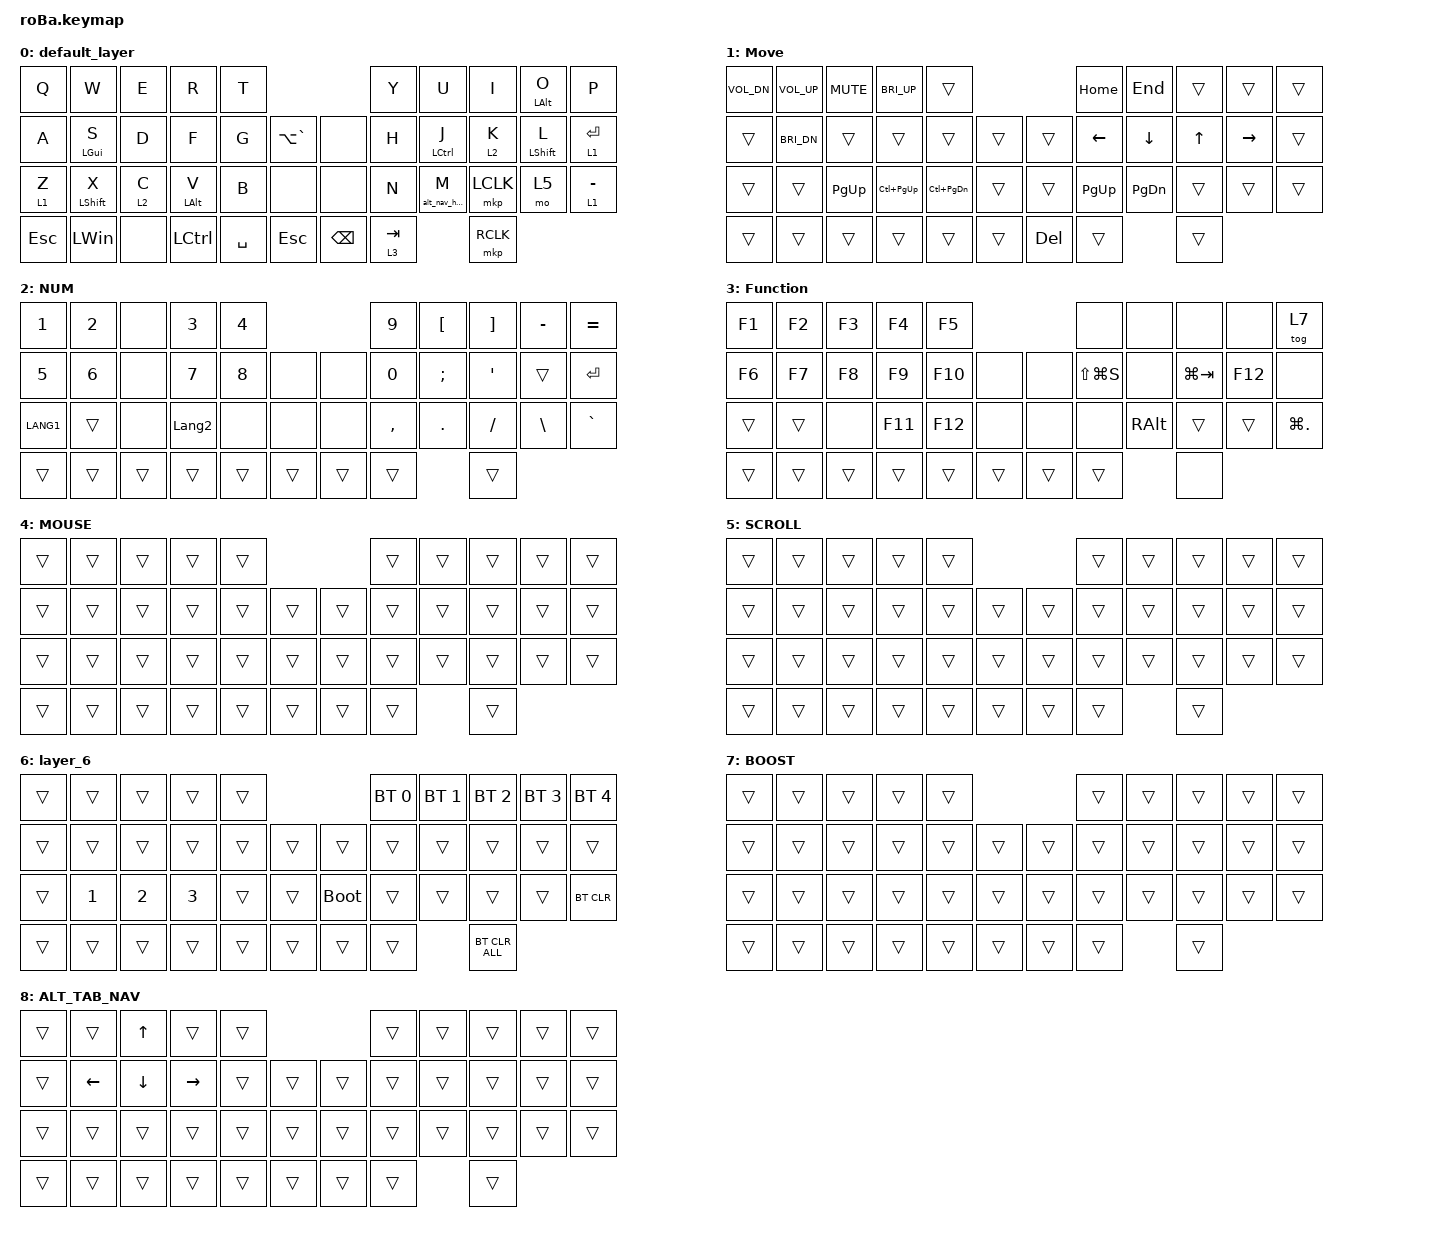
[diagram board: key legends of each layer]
#include <behaviors.dtsi>
#include <dt-bindings/zmk/bt.h>
#include <dt-bindings/zmk/keys.h>
#include <dt-bindings/zmk/pointing.h>

&mt {
    flavor = "balanced";
    quick-tap-ms = <0>;
};

&trackball {
    scroll-layers = <5>;
    snipe-layers = <7>;
};

/ {
    combos {
        compatible = "zmk,combos";

        tab {
            bindings = <&kp TAB>;
            key-positions = <11 12>;
        };

        shift_tab {
            bindings = <&kp LS(TAB)>;
            key-positions = <12 13>;
        };

        muhennkann {
            bindings = <&to_layer_0 INT_MUHENKAN>;
            key-positions = <11 10>;
        };

        double_quotation {
            bindings = <&kp DOUBLE_QUOTES>;
            key-positions = <20 21>;
        };

        eq {
            bindings = <&kp EQUAL>;
            key-positions = <24 25>;
        };
    };

    macros {
        to_layer_0: to_layer_0 {
            compatible = "zmk,behavior-macro-one-param";
            #binding-cells = <1>;
            bindings = <&to 0 &macro_param_1to1 &kp MACRO_PLACEHOLDER>;
            label = "TO_LAYER_0";
        };

        // 右手 M ホールド時: LALT を hold しつつ layer 8 (ALT_TAB_NAV) を活性化。
        // キーを離すと両方解放されるので Alt+Tab スイッチャーも確定して閉じる。
        alt_nav_hold: alt_nav_hold {
            compatible = "zmk,behavior-macro";
            #binding-cells = <0>;
            bindings
                = <&macro_press   &kp LALT &mo 8>
                , <&macro_pause_for_release>
                , <&macro_release &kp LALT &mo 8>
                ;
            label = "ALT_NAV_HOLD";
        };
    };

    behaviors {
        lt_to_layer_0: lt_to_layer_0 {
            compatible = "zmk,behavior-hold-tap";
            label = "LAYER_TAP_TO_0";
            bindings = <&mo>, <&to_layer_0>;

            #binding-cells = <2>;
            tapping-term-ms = <200>;
        };

        hrm_mt: hrm_mt {
            compatible = "zmk,behavior-hold-tap";
            label = "HRM_MT";
            bindings = <&kp>, <&kp>;

            #binding-cells = <2>;
            flavor = "tap-preferred";
            tapping-term-ms = <225>;
            quick-tap-ms = <175>;
            require-prior-idle-ms = <125>;
        };

        hrm_lt: hrm_lt {
            compatible = "zmk,behavior-hold-tap";
            label = "HRM_LT";
            bindings = <&mo>, <&kp>;

            #binding-cells = <2>;
            flavor = "tap-preferred";
            tapping-term-ms = <225>;
            quick-tap-ms = <175>;
            require-prior-idle-ms = <125>;
        };

        // 右手 M 用。hold = LALT + ALT_TAB_NAV layer / tap = 渡された keycode (M)
        // ZMK の hold-tap は #binding-cells = 2 固定。hold 側 (alt_nav_hold) は param を
        // 使わないが、呼び出し時にダミー param (0) を渡す: &hrm_alt_nav 0 M
        hrm_alt_nav: hrm_alt_nav {
            compatible = "zmk,behavior-hold-tap";
            label = "HRM_ALT_NAV";
            bindings = <&alt_nav_hold>, <&kp>;

            #binding-cells = <2>;
            flavor = "tap-preferred";
            tapping-term-ms = <225>;
            quick-tap-ms = <175>;
            require-prior-idle-ms = <125>;
        };
    };

    keymap {
        compatible = "zmk,keymap";

        // Layer 0: Default (QWERTY + keyball39 風ホームロウモッド)

        default_layer {
            bindings = <
&kp Q       &kp W            &kp E       &kp R           &kp T                                        &kp Y      &kp U            &kp I      &hrm_mt LALT O   &kp P
&kp A       &hrm_mt LGUI S   &kp D       &kp F           &kp G      &kp LA(GRAVE)      &none          &kp H      &hrm_mt LCTRL J  &hrm_lt 2 K    &hrm_mt LSHFT L  &lt 1 ENTER
&hrm_lt 1 Z &hrm_mt LSHFT X  &hrm_lt 2 C &hrm_mt LALT V  &kp B      &none              &none          &kp N      &hrm_alt_nav 0 M &mkp LCLK  &mo 5        &lt 1 MINUS
&kp ESC  &kp LWIN     &none    &kp LCTRL   &kp SPACE  &kp ESCAPE         &kp BACKSPACE  &lt 3 TAB                                       &mkp RCLK
            >;
        };

        // Layer 1: ARROW / MEDIA  (旧 keyball L1。Enter 長押し or Z 長押しで起動)

        Move {
            bindings = <
&kp C_VOL_DN  &kp C_VOL_UP  &kp C_MUTE  &kp C_BRI_UP   &trans                                 &kp HOME   &kp END        &trans  &trans     &trans
&trans        &kp C_BRI_DN  &trans      &trans         &trans         &trans      &trans      &kp LEFT   &kp DOWN       &kp UP  &kp RIGHT  &trans
&trans        &trans        &kp PG_UP   &kp LC(PG_UP)  &kp LC(PG_DN)  &trans      &trans      &kp PG_UP  &kp PAGE_DOWN  &trans  &trans     &trans
&trans        &trans        &trans      &trans         &trans         &trans      &kp DELETE  &trans                                       &trans
            >;
        };

        // Layer 2: NUM (C / K / SPACE 長押し)

        NUM {
            bindings = <
&kp N1     &kp NUMBER_2  &none   &kp N3          &kp N4                      &kp N9     &kp LEFT_BRACKET  &kp RIGHT_BRACKET  &kp MINUS  &kp EQUAL
&kp N5     &kp N6        &none   &kp N7          &kp N8  &none       &none   &kp N0     &kp SEMI          &kp SQT            &trans     &kp RET
&kp LANG1  &trans        &none   &kp LANGUAGE_2  &none   &none       &none   &kp COMMA  &kp DOT           &kp FSLH           &kp BSLH   &kp GRAVE
&trans     &trans        &trans  &trans          &trans  &trans      &trans  &trans                                                     &trans
            >;
        };

        // Layer 3: FUNCTION / MACRO  (旧 keyball L3。Tab 長押しで起動)

        Function {
            bindings = <
&kp F1  &kp F2  &kp F3  &kp F4   &kp F5                       &none          &none          &none        &none    &tog 7
&kp F6  &kp F7  &kp F8  &kp F9   &kp F10  &none       &none   &kp LS(LG(S))  &none          &kp LG(TAB)  &kp F12  &none
&trans  &trans  &none   &kp F11  &kp F12  &none       &none   &none          &kp RIGHT_ALT  &trans       &trans   &kp LG(DOT)
&trans  &trans  &trans  &trans   &trans   &trans      &trans  &trans                                              &none
            >;
        };

        MOUSE {
            bindings = <
&trans  &trans  &trans  &trans  &trans                      &trans  &trans    &trans    &trans    &trans
&trans  &trans  &trans  &trans  &trans  &trans      &trans  &trans  &trans    &trans    &trans    &trans
&trans  &trans  &trans  &trans  &trans  &trans      &trans  &trans  &trans    &trans    &trans    &trans
&trans  &trans  &trans  &trans  &trans  &trans      &trans  &trans                                &trans
            >;
        };

        SCROLL {
            bindings = <
&trans  &trans  &trans  &trans  &trans                      &trans  &trans  &trans  &trans  &trans
&trans  &trans  &trans  &trans  &trans  &trans      &trans  &trans  &trans  &trans  &trans  &trans
&trans  &trans  &trans  &trans  &trans  &trans      &trans  &trans  &trans  &trans  &trans  &trans
&trans  &trans  &trans  &trans  &trans  &trans      &trans  &trans                          &trans
            >;
        };

        layer_6 {
            bindings = <
&trans  &trans        &trans        &trans        &trans                           &bt BT_SEL 0  &bt BT_SEL 1  &bt BT_SEL 2  &bt BT_SEL 3  &bt BT_SEL 4
&trans  &trans        &trans        &trans        &trans  &trans      &trans       &trans        &trans        &trans        &trans        &trans
&trans  &kp NUMBER_1  &kp NUMBER_2  &kp NUMBER_3  &trans  &trans      &bootloader  &trans        &trans        &trans        &trans        &bt BT_CLR
&trans  &trans        &trans        &trans        &trans  &trans      &trans       &trans                                                  &bt BT_CLR_ALL
            >;
        };

        // Layer 7: BOOST (トラックボール速度ブーストモード。Layer 3 の右上で toggle)

        BOOST {
            bindings = <
&trans  &trans  &trans  &trans  &trans                      &trans  &trans  &trans  &trans  &trans
&trans  &trans  &trans  &trans  &trans  &trans      &trans  &trans  &trans  &trans  &trans  &trans
&trans  &trans  &trans  &trans  &trans  &trans      &trans  &trans  &trans  &trans  &trans  &trans
&trans  &trans  &trans  &trans  &trans  &trans      &trans  &trans                          &trans
            >;
        };

        // Layer 8: ALT_TAB_NAV (M 長押し中だけ active。左手 sedf を矢印化)
        //   e = UP / s = LEFT / d = DOWN / f = RIGHT

        ALT_TAB_NAV {
            bindings = <
&trans  &trans     &kp UP    &trans      &trans                      &trans  &trans  &trans  &trans  &trans
&trans  &kp LEFT   &kp DOWN  &kp RIGHT   &trans  &trans      &trans  &trans  &trans  &trans  &trans  &trans
&trans  &trans     &trans    &trans      &trans  &trans      &trans  &trans  &trans  &trans  &trans  &trans
&trans  &trans     &trans    &trans      &trans  &trans      &trans  &trans                          &trans
            >;
        };
    };
};
